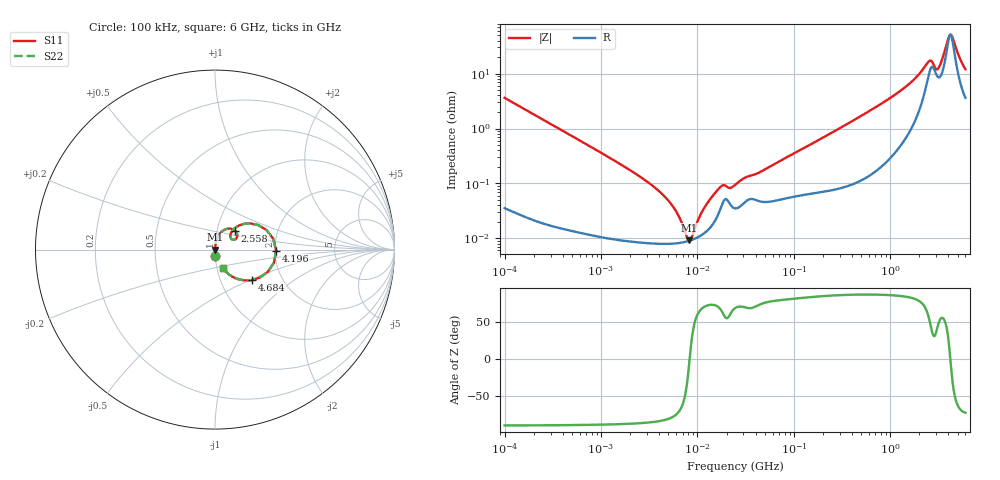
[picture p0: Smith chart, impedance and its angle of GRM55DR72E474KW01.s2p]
!Murata Part Number: GRM55DR72E474KW01
!These Parameters are Measured in Series Mode Connection
!Data Generated on Mar 30, 2021
!  o--ll--o
!Port1  Port2
!  o------o
!Operation Temp=25[degC], DC Bias Voltage=0[V]
!Freq. Start=100[kHz] Stop=6[GHz] 401[Steps]
# Hz S RI R 50
!Freq.(Hz) S11(Real) S11(Imag) S21(Real) S21(Imag) S12(Real) S12(Imag) S22(Real) S22(Imag)
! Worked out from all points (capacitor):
!   401 points, 100 kHz to 6 GHz, reference 50 ohm
!   read as one part in series: C = 439 nF near 105.7 kHz
!   lowest |Z| = 9.1 mohm at 8.152 MHz (marker M1)
!   series resonance near 8.293 MHz, so ESL is about 840 pH
!   S11 on the Smith chart (normalised r, x): 100 kHz: 1.00, -0.07; 2.558 GHz: 1.22, +0.27; 4.196 GHz: 2.03, -0.02; 4.684 GHz: 1.41, -0.52; 6 GHz: 1.07, -0.23
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100000  0.00166 -0.0361  0.9983 0.0361  0.9983 0.0361  0.00166 -0.0361
631452  0.000157 -0.00575  0.9998 0.00575  0.9998 0.00575  0.000157 -0.00575
2118054  8.86e-05 -0.00163  0.9999 0.00163  0.9999 0.00163  8.86e-05 -0.00163
3987316  7.96e-05 -0.000718  0.9999 0.000718  0.9999 0.000718  7.96e-05 -0.000718
5860248  8.03e-05 -0.000321  0.9999 0.000321  0.9999 0.000321  8.03e-05 -0.000321
8151931  8.96e-05 -1.57e-05  0.9999 1.57e-05  0.9999 1.57e-05  8.96e-05 -1.57e-05
8853126  9.41e-05 6.03e-05  0.9999 -6.03e-05  0.9999 -6.03e-05  9.41e-05 6.03e-05
1.165602e7  0.000122 0.000327  0.9999 -0.000327  0.9999 -0.000327  0.000122 0.000327
1.621418e7  0.00026 0.000717  0.9997 -0.000717  0.9997 -0.000717  0.00026 0.000717
1.809991e7  0.000423 0.000809  0.9996 -0.000809  0.9996 -0.000809  0.000423 0.000809
2.19429e7  0.000409 0.000715  0.9996 -0.000715  0.9996 -0.000715  0.000409 0.000715
2.517799e7  0.000351 0.000907  0.9996 -0.000907  0.9996 -0.000907  0.000351 0.000907
1.546735e8  0.000678 0.00526  0.9993 -0.00526  0.9993 -0.00526  0.000678 0.00526
9.76689e8  0.00398 0.0348  0.996 -0.0348  0.996 -0.0348  0.00398 0.0348
1.942633e9  0.0265 0.0877  0.9735 -0.0877  0.9735 -0.0877  0.0265 0.0877
2.55767e9  0.1116 0.1061  0.8884 -0.1061  0.8884 -0.1061  0.1116 0.1061
3.100717e9  0.0857 0.0705  0.9143 -0.0705  0.9143 -0.0705  0.0857 0.0705
3.759065e9  0.1987 0.1458  0.8013 -0.1458  0.8013 -0.1458  0.1987 0.1458
4.19625e9  0.341 -0.00532  0.659 0.00532  0.659 0.00532  0.341 -0.00532
4.68428e9  0.2066 -0.1698  0.7934 0.1698  0.7934 0.1698  0.2066 -0.1698
5.229069e9  0.0956 -0.1499  0.9044 0.1499  0.9044 0.1499  0.0956 -0.1499
6e9  0.0466 -0.1051  0.9534 0.1051  0.9534 0.1051  0.0466 -0.1051
